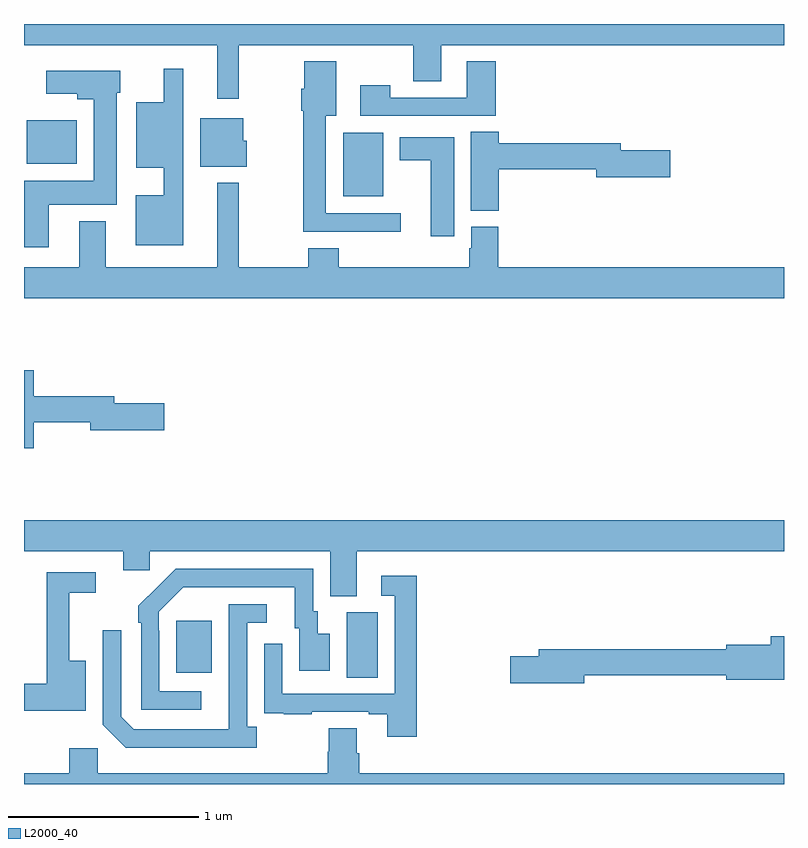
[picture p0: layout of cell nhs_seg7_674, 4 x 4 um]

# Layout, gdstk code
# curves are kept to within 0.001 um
import gdstk
lib = gdstk.Library(unit=1e-6, precision=1e-09)
def R(c, l, rs):  # rectangles x0, y0, x1, y1
    for r in rs: c.add(gdstk.rectangle(r[:2], r[2:], *l))
def P(c, l, *ps):  # polygons
    for p in ps: c.add(gdstk.Polygon(p, *l))
L2000_40 = (2000, 40)

nhs_seg7_674 = lib.new_cell('nhs_seg7_674')
R(nhs_seg7_674, L2000_40, [(162.698,1058.56,162.862,1058.904), (161.801,1058.585,161.989,1058.86), (162.68,1061.093,162.892,1061.428), (161.015,1061.264,161.278,1061.494)])
P(nhs_seg7_674, L2000_40, [(162.131,1061.888),(163.048,1061.888),(163.048,1061.698),(163.195,1061.698),(163.195,1061.888),(165,1061.888),(165,1062),(161,1062),(161,1061.888),(162.017,1061.888),(162.017,1061.607),(162.131,1061.607)],
  [(163.484,1061.803),(163.331,1061.803),(163.331,1061.613),(162.927,1061.613),(162.927,1061.677),(162.771,1061.677),(162.771,1061.517),(163.484,1061.517)],
  [(162.982,1061.004),(162.589,1061.004),(162.589,1061.516),(162.643,1061.516),(162.643,1061.803),(162.476,1061.803),(162.476,1061.658),(162.458,1061.658),(162.458,1061.544),(162.469,1061.544),(162.469,1060.907),(162.982,1060.907)],
  [(161.839,1061.764),(161.735,1061.764),(161.735,1061.587),(161.591,1061.587),(161.591,1061.243),(161.735,1061.243),(161.735,1061.098),(161.588,1061.098),(161.588,1060.835),(161.839,1060.835)],
  [(161.131,1061.048),(161.488,1061.048),(161.488,1061.637),(161.506,1061.637),(161.506,1061.755),(161.118,1061.755),(161.118,1061.633),(161.279,1061.633),(161.279,1061.603),(161.366,1061.603),(161.366,1061.176),(161,1061.176),(161,1060.824),(161.131,1060.824)],
  [(162.172,1061.385),(162.154,1061.385),(162.154,1061.503),(161.927,1061.503),(161.927,1061.249),(162.172,1061.249)],
  [(163.499,1061.236),(164.012,1061.236),(164.012,1061.194),(164.401,1061.194),(164.401,1061.336),(164.14,1061.336),(164.14,1061.372),(163.499,1061.372),(163.499,1061.432),(163.352,1061.432),(163.352,1061.017),(163.499,1061.017)],
  [(163.264,1061.404),(162.977,1061.404),(162.977,1061.282),(163.142,1061.282),(163.142,1060.884),(163.264,1060.884)],
  [(165,1060.72),(163.496,1060.72),(163.496,1060.932),(163.355,1060.932),(163.355,1060.821),(163.343,1060.821),(163.343,1060.72),(162.656,1060.72),(162.656,1060.819),(162.496,1060.819),(162.496,1060.72),(162.131,1060.72),(162.131,1061.164),(162.017,1061.164),(162.017,1060.72),(161.431,1060.72),(161.431,1060.963),(161.291,1060.963),(161.291,1060.72),(161,1060.72),(161,1060.556),(165,1060.556)],
  [(161.05,1059.904),(161.348,1059.904),(161.348,1059.862),(161.737,1059.862),(161.737,1060.004),(161.476,1060.004),(161.476,1060.04),(161.05,1060.04),(161.05,1060.177),(161,1060.177),(161,1059.767),(161.05,1059.767)],
  [(162.751,1059.224),(165,1059.224),(165,1059.388),(161,1059.388),(161,1059.224),(161.522,1059.224),(161.522,1059.126),(161.661,1059.126),(161.661,1059.224),(162.611,1059.224),(162.611,1058.989),(162.751,1058.989)],
  [(161.932,1058.487),(161.712,1058.487),(161.712,1058.807),(161.709,1058.807),(161.709,1058.907),(161.838,1059.036),(162.425,1059.036),(162.425,1058.82),(162.449,1058.82),(162.449,1058.595),(162.61,1058.595),(162.61,1058.791),(162.547,1058.791),(162.547,1058.91),(162.522,1058.91),(162.522,1059.132),(161.798,1059.132),(161.601,1058.937),(161.601,1058.849),(161.616,1058.849),(161.616,1058.391),(161.932,1058.391)],
  [(161.326,1058.65),(161.237,1058.65),(161.237,1059.006),(161.377,1059.006),(161.377,1059.114),(161.119,1059.114),(161.119,1058.528),(161,1058.528),(161,1058.386),(161.326,1058.386)],
  [(163.067,1059.097),(162.879,1059.097),(162.879,1058.991),(162.951,1058.991),(162.951,1058.475),(162.36,1058.475),(162.36,1058.737),(162.264,1058.737),(162.264,1058.482),(162.265,1058.482),(162.265,1058.373),(162.367,1058.373),(162.367,1058.367),(162.515,1058.367),(162.515,1058.379),(162.815,1058.379),(162.815,1058.367),(162.911,1058.367),(162.911,1058.25),(163.067,1058.25)],
  [(162.226,1058.302),(162.174,1058.302),(162.174,1058.85),(162.277,1058.85),(162.277,1058.946),(162.078,1058.946),(162.077,1058.289),(161.577,1058.289),(161.511,1058.355),(161.511,1058.809),(161.415,1058.809),(161.415,1058.313),(161.536,1058.192),(162.226,1058.192)],
  [(163.948,1058.572),(164.696,1058.572),(164.696,1058.549),(165,1058.549),(165,1058.777),(164.93,1058.777),(164.93,1058.732),(164.696,1058.732),(164.696,1058.708),(163.709,1058.708),(163.709,1058.672),(163.56,1058.672),(163.56,1058.53),(163.948,1058.53)],
  [(165,1058.056),(162.764,1058.056),(162.764,1058.162),(162.751,1058.162),(162.751,1058.294),(162.604,1058.294),(162.604,1058.169),(162.599,1058.169),(162.599,1058.056),(161.388,1058.056),(161.388,1058.188),(161.237,1058.188),(161.237,1058.056),(161,1058.056),(161,1058),(165,1058)])

lib.write_gds('nhs_seg7_674.gds')
